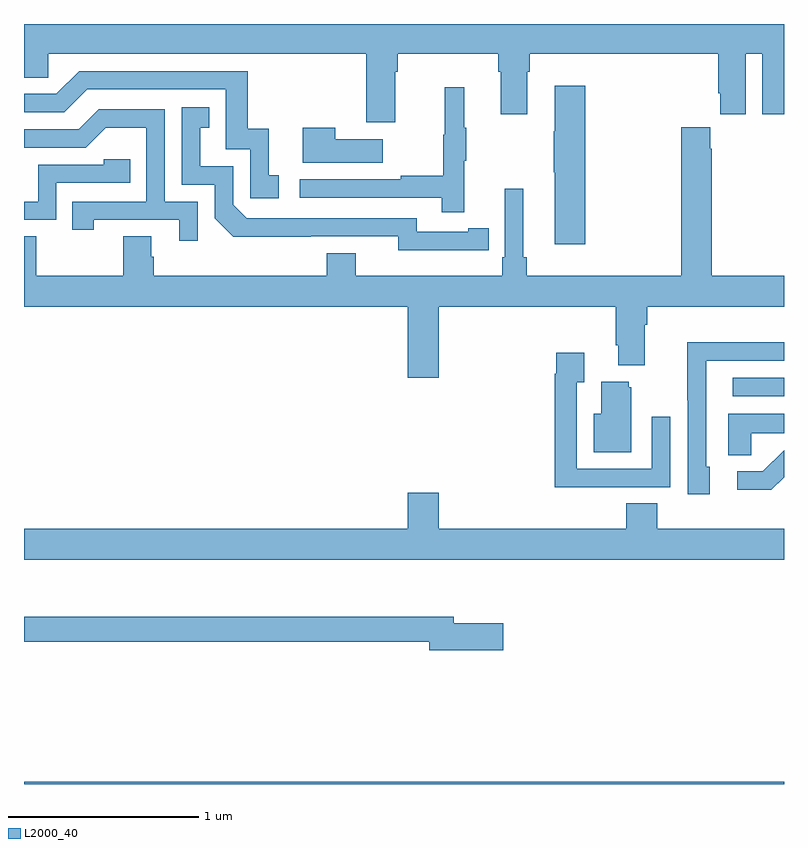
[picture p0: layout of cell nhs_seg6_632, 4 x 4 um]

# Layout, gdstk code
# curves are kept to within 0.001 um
import gdstk
lib = gdstk.Library(unit=1e-6, precision=1e-09)
def R(c, l, rs):  # rectangles x0, y0, x1, y1
    for r in rs: c.add(gdstk.rectangle(r[:2], r[2:], *l))
def P(c, l, *ps):  # polygons
    for p in ps: c.add(gdstk.Polygon(p, *l))
L2000_40 = (2000, 40)

nhs_seg6_632 = lib.new_cell('nhs_seg6_632')
R(nhs_seg6_632, L2000_40, [(151,935.5,155,935.512), (154.731,937.542,155,937.638)])
P(nhs_seg6_632, L2000_40, [(151,939.217),(151.128,939.217),(151.128,939.344),(152.801,939.344),(152.801,938.982),(152.953,938.982),(152.953,939.248),(152.966,939.248),(152.966,939.344),(153.497,939.344),(153.497,939.248),(153.509,939.248),(153.509,939.024),(153.649,939.024),(153.649,939.248),(153.662,939.248),(153.662,939.344),(154.655,939.344),(154.655,939.136),(154.664,939.136),(154.664,939.024),(154.798,939.024),(154.798,939.344),(154.886,939.344),(154.886,939.024),(155,939.024),(155,939.5),(151,939.5)],
  [(152.341,938.703),(152.288,938.703),(152.288,938.95),(152.177,938.95),(152.177,939.252),(151.29,939.252),(151.17,939.132),(151,939.132),(151,939.036),(151.212,939.036),(151.332,939.156),(152.061,939.156),(152.061,938.841),(152.19,938.841),(152.19,938.583),(152.341,938.583)],
  [(153.953,939.175),(153.794,939.175),(153.794,938.936),(153.787,938.936),(153.787,938.719),(153.794,938.719),(153.794,938.34),(153.953,938.34)],
  [(153.317,938.779),(153.328,938.779),(153.328,938.953),(153.317,938.953),(153.317,939.166),(153.214,939.166),(153.214,938.916),(153.207,938.916),(153.207,938.702),(152.983,938.702),(152.983,938.682),(152.451,938.682),(152.451,938.586),(153.199,938.586),(153.199,938.508),(153.317,938.508)],
  [(153.338,938.31),(153.446,938.31),(153.446,938.426),(153.338,938.426),(153.338,938.406),(153.066,938.406),(153.066,938.478),(152.172,938.478),(152.1,938.55),(152.1,938.751),(151.927,938.751),(151.927,938.955),(151.976,938.955),(151.976,939.061),(151.83,939.061),(151.83,938.655),(152.004,938.655),(152.004,938.478),(152.102,938.381),(152.97,938.382),(152.97,938.309)],
  [(151.914,938.565),(151.74,938.565),(151.74,939.051),(151.394,939.051),(151.289,938.946),(151,938.946),(151,938.85),(151.326,938.85),(151.43,938.954),(151.644,938.954),(151.644,938.565),(151.255,938.565),(151.255,938.418),(151.366,938.418),(151.366,938.469),(151.817,938.469),(151.817,938.358),(151.914,938.358)],
  [(153.184,938.012),(154.115,938.012),(154.115,937.81),(154.127,937.81),(154.127,937.703),(154.267,937.703),(154.267,937.916),(154.28,937.916),(154.28,938.012),(155,938.012),(155,938.176),(154.62,938.176),(154.62,938.843),(154.613,938.843),(154.613,938.956),(154.46,938.956),(154.46,938.176),(153.647,938.176),(153.647,938.272),(153.628,938.272),(153.628,938.632),(153.531,938.632),(153.531,938.272),(153.518,938.272),(153.518,938.176),(152.746,938.176),(152.746,938.293),(152.594,938.293),(152.594,938.176),(151.682,938.176),(151.682,938.274),(151.669,938.274),(151.669,938.384),(151.522,938.384),(151.522,938.176),(151.065,938.176),(151.065,938.384),(151,938.384),(151,938.012),(153.02,938.012),(153.02,937.638),(153.184,937.638)],
  [(152.887,938.893),(152.639,938.893),(152.639,938.953),(152.468,938.953),(152.468,938.771),(152.887,938.771)],
  [(151.17,938.664),(151.559,938.664),(151.559,938.787),(151.419,938.787),(151.419,938.76),(151.074,938.76),(151.074,938.565),(151,938.565),(151,938.469),(151.17,938.469)],
  [(154.609,937.17),(154.59,937.17),(154.59,937.728),(155,937.728),(155,937.824),(154.955,937.824),(154.955,937.826),(154.492,937.826),(154.492,937.519),(154.494,937.519),(154.494,937.026),(154.609,937.026)],
  [(154.085,937.062),(154.401,937.062),(154.401,937.432),(154.305,937.432),(154.305,937.158),(153.909,937.158),(153.909,937.615),(153.949,937.615),(153.949,937.771),(153.801,937.771),(153.801,937.658),(153.793,937.658),(153.793,937.061),(154.085,937.061)],
  [(154.195,937.587),(154.184,937.587),(154.184,937.618),(154.037,937.618),(154.037,937.45),(153.998,937.45),(153.998,937.247),(154.195,937.247)],
  [(154.827,937.346),(155,937.346),(155,937.45),(154.706,937.45),(154.706,937.231),(154.827,937.231)],
  [(155,937.115),(155,937.257),(154.889,937.146),(154.755,937.146),(154.755,937.049),(154.933,937.049)],
  [(155,936.844),(154.334,936.844),(154.334,936.977),(154.169,936.977),(154.169,936.844),(153.184,936.844),(153.184,937.033),(153.02,937.033),(153.02,936.844),(151,936.844),(151,936.68),(155,936.68)],
  [(153.523,936.345),(153.262,936.345),(153.262,936.379),(151,936.379),(151,936.25),(153.134,936.25),(153.134,936.203),(153.523,936.203)])

lib.write_gds('nhs_seg6_632.gds')
